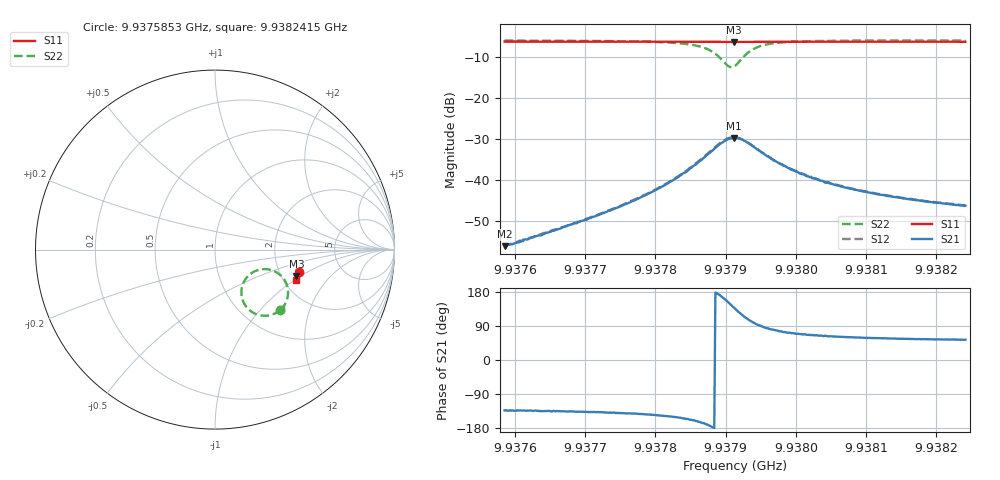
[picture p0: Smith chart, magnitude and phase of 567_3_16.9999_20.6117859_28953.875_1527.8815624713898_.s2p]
#  HZ  S  RI  R  50.00
! Rohde & Schwarz Vector Network Analyzer
! Rohde-Schwarz,ZNB20-2Port,1311601062101988,3.16
! Created: UTC 3/20/2024, 11:17:28 PM
! freq[Hz]  re:S11  im:S11  re:S21  im:S21  re:S12  im:S12  re:S22  im:S22
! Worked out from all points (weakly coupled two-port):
!   401 points, 9.9375853 GHz to 9.9382415 GHz, reference 50 ohm
!   highest |S21| = -29.71 dB at 9.9379118 GHz (marker M1); lowest = -56.0 dB at 9.9375853 GHz (marker M2)
!   lowest |S11| = -6.4 dB at 9.9379118 GHz (marker M3), VSWR 2.82, Z = 121 - j45.8 ohm
!   |S11| at or under -10 dB: nowhere
!   |S22| runs from -12.6 to -6.1 dB; largest |S21 - S12| = 0.0014
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9.93758534e9  0.4655 -0.1272  -0.00108 -0.00116  -0.00109 -0.00115  0.3635 -0.3367
9.93760831e9  0.4648 -0.1286  -0.00122 -0.00131  -0.00127 -0.00134  0.3609 -0.3391
9.93769525e9  0.4627 -0.1346  -0.00233 -0.00222  -0.0024 -0.00222  0.3469 -0.3487
9.93776086e9  0.4609 -0.1389  -0.00408 -0.00333  -0.00421 -0.00334  0.3281 -0.3583
9.93780515e9  0.4596 -0.1421  -0.00662 -0.00447  -0.00685 -0.00444  0.3041 -0.3661
9.93784452e9  0.4581 -0.1449  -0.0116 -0.00523  -0.012 -0.00529  0.2604 -0.3677
9.93787241e9  0.4563 -0.1465  -0.0196 -0.00356  -0.0203 -0.0033  0.1989 -0.3428
9.93788389e9  0.4554 -0.1469  -0.0241 -0.000213  -0.0246 0.000491  0.1668 -0.3081
9.93789538e9  0.4545 -0.1471  -0.0279 0.00713  -0.0284 0.00795  0.1471 -0.2455
9.93790522e9  0.4541 -0.1467  -0.0277 0.016  -0.0277 0.0171  0.1632 -0.1755
9.93791178e9  0.4541 -0.1464  -0.0245 0.0216  -0.0242 0.0228  0.1975 -0.1357
9.93791342e9  0.4543 -0.1464  -0.0234 0.0228  -0.023 0.0241  0.2079 -0.1283
9.93792162e9  0.4548 -0.1462  -0.0167 0.0267  -0.016 0.0277  0.2674 -0.109
9.9379331e9  0.4555 -0.1467  -0.00763 0.0269  -0.00673 0.0274  0.3379 -0.1239
9.93794951e9  0.4561 -0.148  -4.11e-06 0.0224  0.0007 0.0225  0.3886 -0.1718
9.93797904e9  0.4561 -0.1506  0.00383 0.0151  0.00431 0.0151  0.4072 -0.2354
9.93800364e9  0.4555 -0.1526  0.00441 0.0116  0.00467 0.0116  0.4048 -0.2645
9.93802333e9  0.4551 -0.1543  0.00426 0.00973  0.00457 0.00965  0.4008 -0.2797
9.93807254e9  0.4538 -0.1576  0.00399 0.00705  0.0042 0.00703  0.3911 -0.3025
9.93813323e9  0.4521 -0.1617  0.00351 0.00534  0.00365 0.00534  0.3816 -0.3176
9.93818573e9  0.4507 -0.1653  0.00315 0.0045  0.0033 0.0045  0.3752 -0.3263
9.9382415e9  0.4492 -0.1686  0.00291 0.00395  0.00304 0.00393  0.3694 -0.3331
